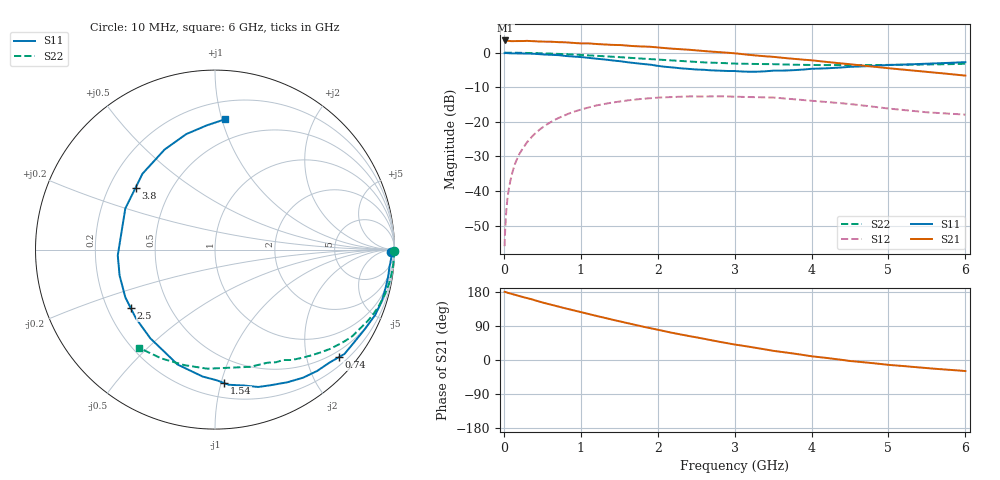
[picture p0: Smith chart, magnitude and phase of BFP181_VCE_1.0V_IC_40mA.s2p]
! Infineon Technologies  Discrete & RF Semiconductors
! BFP181
! VCE = 1.0 V,  IC =  40 mA
! Common Emitter S-Parameters:  Jan 2016
# GHz  S  MA  R  50
!  f  S11  S21  S12  S22
! GHz  MAG  ANG  MAG  ANG  MAG  ANG  MAG  ANG
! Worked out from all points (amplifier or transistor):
!   210 points, 10 MHz to 6 GHz, reference 50 ohm
!   highest |S21| = 3.5 dB at 20 MHz (marker M1)
!   |S21| within 3 dB of that: start of sweep to 2.562 GHz
!   unconditionally stable (mu >= 1): 3.638 GHz to end of sweep
!   at 185 MHz: K = 0.07, MSG = 16.7 dB, |S12| = -30.0 dB
!   at 1.52 GHz: K = 0.49, MSG = 8.1 dB, |S12| = -14.1 dB
!   at 6 GHz: K = 1.60, MAG = 1.1 dB, |S12| = -17.9 dB
!   S11 on the Smith chart (normalised r, x): 10 MHz: 77, -53; 740 MHz: 0.36, -2.62; 1.54 GHz: 0.31, -1.02; 2.5 GHz: 0.30, -0.29; 3.8 GHz: 0.31, +0.31; 6 GHz: 0.33, +1.03
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0.01  0.9825 -0.7  1.483 179.8  0.0016 84.4  0.9997 -0.3
0.02  0.9904 -1.2  1.501 179.6  0.0032 89.4  0.9997 -0.6
0.04  0.9855 -2.2  1.489 178.1  0.0066 90.9  0.9993 -1.1
0.06  0.9816 -3.3  1.479 176.8  0.01 89.5  0.9987 -1.7
0.08  0.9789 -4.6  1.472 175.7  0.0133 87.4  0.9979 -2.2
0.135  0.9765 -7.6  1.468 172.6  0.0229 83.8  0.9973 -3.8
0.2  0.9754 -11.1  1.473 168.8  0.0341 81.8  0.9955 -5.6
0.4  0.9639 -22.2  1.463 157.8  0.0669 73.9  0.9874 -11.3
0.74  0.9132 -41.1  1.415 139.4  0.1176 59.9  0.9586 -20.6
1.02  0.8605 -56.7  1.361 125.2  0.1526 49.3  0.925 -27.6
1.3  0.8024 -72.5  1.319 111.7  0.1811 39.1  0.8901 -34.4
1.54  0.7447 -86.2  1.281 100.4  0.1994 31.7  0.8559 -39.4
2.02  0.6401 -115.1  1.188 79.0  0.2247 17.9  0.7928 -48.3
2.5  0.5714 -145.3  1.077 59.9  0.2327 5.3  0.7353 -56.8
2.8  0.5508 -164.8  1.019 48.1  0.2351 -1.6  0.7136 -61.6
3.1  0.5337 177.9  0.952 37.9  0.2296 -8.2  0.6913 -66.6
3.5  0.5496 155.4  0.871 24.3  0.2249 -15.8  0.6821 -73.2
3.8  0.5611 142.0  0.808 16.1  0.2112 -20.3  0.6686 -79.0
4.1  0.5884 130.1  0.754 7.7  0.1984 -24.9  0.6619 -85.2
4.5  0.6243 116.7  0.681 -2.6  0.1811 -30.1  0.6648 -93.8
5.1  0.6675 101.9  0.582 -14.4  0.1521 -32.4  0.6659 -107.2
6  0.7293 85.4  0.466 -29.2  0.1273 -26.5  0.6919 -127.7
